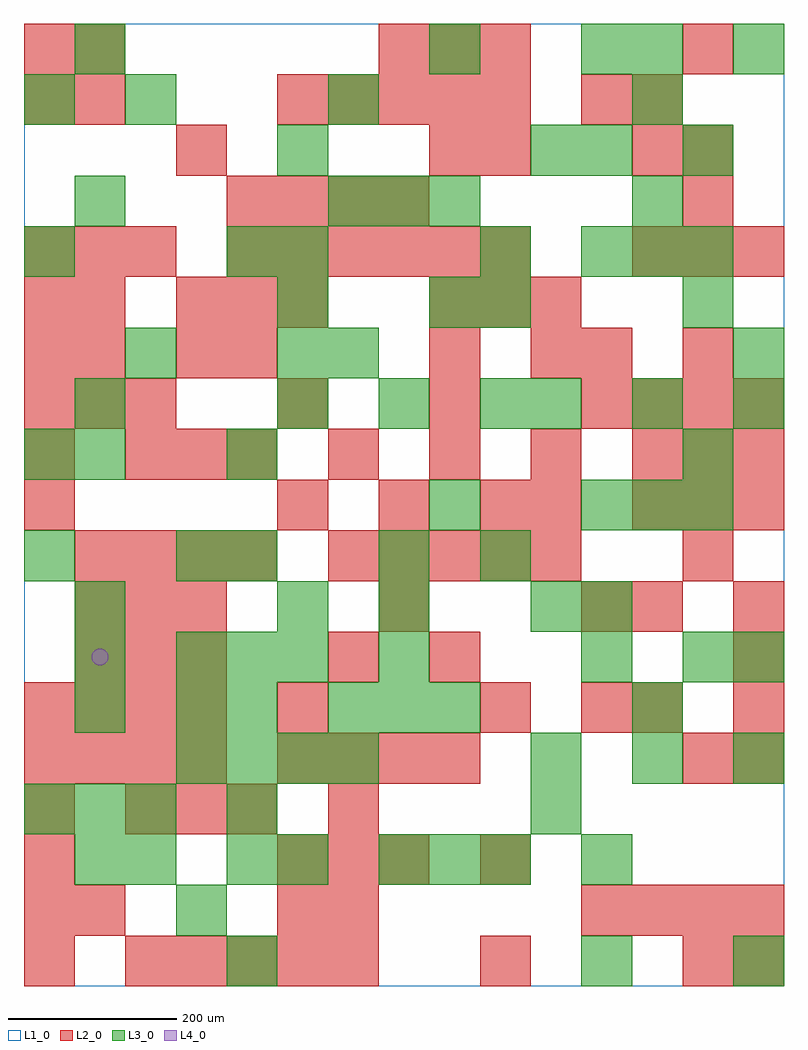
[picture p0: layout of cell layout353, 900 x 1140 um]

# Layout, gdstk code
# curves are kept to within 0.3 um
import gdstk
lib = gdstk.Library(unit=1e-6, precision=1e-09)
def R(c, l, rs):  # rectangles x0, y0, x1, y1
    for r in rs: c.add(gdstk.rectangle(r[:2], r[2:], *l))
def A(c, l, x, y, w, h, nx, ny, dx, dy):  # array of equal rectangles
    R(c, l, [(x+i*dx, y+j*dy, x+i*dx+w, y+j*dy+h) for i in range(nx) for j in range(ny)])
def P(c, l, *ps):  # polygons
    for p in ps: c.add(gdstk.Polygon(p, *l))
L1_0 = (1, 0)
L2_0 = (2, 0)
L3_0 = (3, 0)
L4_0 = (4, 0)

layout353 = lib.new_cell('layout353')
R(layout353, L1_0, [(0,0,900,1140)])
A(layout353, L2_0, 0, 0, 60, 60, 1, 4, 0, 60)
A(layout353, L2_0, 120, 0, 60, 60, 5, 1, 60, 0)
A(layout353, L2_0, 780, 0, 60, 60, 1, 3, 0, 240)
A(layout353, L2_0, 660, 60, 60, 60, 4, 1, 60, 0)
A(layout353, L2_0, 300, 120, 60, 60, 3, 1, 60, 0)
A(layout353, L2_0, 120, 180, 60, 60, 3, 2, 60, 420)
A(layout353, L2_0, 0, 240, 60, 60, 4, 2, 60, 60)
A(layout353, L2_0, 300, 240, 60, 60, 4, 1, 60, 0)
A(layout353, L2_0, 840, 240, 60, 60, 1, 4, 0, 60)
A(layout353, L2_0, 60, 360, 60, 60, 3, 2, 60, 60)
A(layout353, L2_0, 660, 420, 60, 60, 1, 3, 0, 300)
A(layout353, L2_0, 60, 480, 60, 60, 4, 1, 60, 0)
A(layout353, L2_0, 360, 480, 60, 60, 5, 1, 60, 0)
A(layout353, L2_0, 300, 540, 60, 60, 3, 1, 120, 0)
A(layout353, L2_0, 720, 540, 60, 60, 3, 2, 60, 120)
A(layout353, L2_0, 360, 600, 60, 60, 4, 1, 120, 0)
A(layout353, L2_0, 0, 660, 60, 60, 3, 2, 60, 180)
A(layout353, L2_0, 300, 660, 60, 60, 3, 1, 180, 0)
A(layout353, L2_0, 180, 780, 60, 60, 3, 1, 60, 0)
A(layout353, L2_0, 480, 780, 60, 60, 3, 1, 60, 0)
A(layout353, L2_0, 240, 840, 60, 60, 6, 1, 60, 0)
A(layout353, L2_0, 720, 840, 60, 60, 3, 1, 60, 0)
A(layout353, L2_0, 240, 900, 60, 60, 4, 1, 60, 0)
A(layout353, L2_0, 300, 1020, 60, 60, 5, 1, 60, 0)
A(layout353, L2_0, 420, 1080, 60, 60, 3, 1, 60, 0)
R(layout353, L2_0, [(540,0,600,60), (840,0,900,60), (60,60,120,120), (300,60,360,120), (360,60,420,120), (540,120,600,180), (360,180,420,240), (300,300,360,360), (540,300,600,360), (660,300,720,360), (720,300,780,360), (360,360,420,420), (480,360,540,420), (420,420,480,480), (720,420,780,480), (0,540,60,600), (600,540,660,600), (0,600,60,660), (780,600,840,660), (840,600,900,660), (0,720,60,780), (60,720,120,780), (180,720,240,780), (240,720,300,780), (480,720,540,780), (600,720,660,780), (780,720,840,780), (0,780,60,840), (60,780,120,840), (780,900,840,960), (180,960,240,1020), (480,960,540,1020), (540,960,600,1020), (720,960,780,1020), (780,960,840,1020), (0,1020,60,1080), (60,1020,120,1080), (720,1020,780,1080), (0,1080,60,1140), (60,1080,120,1140), (780,1080,840,1140)])
A(layout353, L3_0, 840, 0, 60, 60, 1, 4, 0, 360)
A(layout353, L3_0, 300, 120, 60, 60, 1, 3, 0, 300)
A(layout353, L3_0, 420, 120, 60, 60, 3, 1, 60, 0)
A(layout353, L3_0, 0, 180, 60, 60, 3, 1, 60, 0)
A(layout353, L3_0, 180, 240, 60, 60, 4, 1, 60, 0)
A(layout353, L3_0, 600, 240, 60, 60, 3, 2, 120, 420)
A(layout353, L3_0, 60, 300, 60, 60, 1, 3, 0, 60)
A(layout353, L3_0, 360, 300, 60, 60, 3, 2, 60, 600)
A(layout353, L3_0, 180, 360, 60, 60, 3, 1, 60, 0)
A(layout353, L3_0, 420, 360, 60, 60, 1, 3, 0, 60)
A(layout353, L3_0, 660, 540, 60, 60, 3, 2, 60, 300)
A(layout353, L3_0, 780, 600, 60, 60, 1, 3, 0, 180)
A(layout353, L3_0, 300, 660, 60, 60, 3, 1, 120, 0)
R(layout353, L3_0, [(240,0,300,60), (660,0,720,60), (180,60,240,120), (60,120,120,180), (120,120,180,180), (240,120,300,180), (660,120,720,180), (240,180,300,240), (600,180,660,240), (180,300,240,360), (240,300,300,360), (720,300,780,360), (660,360,720,420), (780,360,840,420), (600,420,660,480), (660,420,720,480), (0,480,60,540), (180,480,240,540), (240,480,300,540), (540,480,600,540), (480,540,540,600), (0,600,60,660), (60,600,120,660), (240,600,300,660), (60,660,120,720), (120,720,180,780), (360,720,420,780), (300,780,360,840), (480,780,540,840), (540,780,600,840), (0,840,60,900), (240,840,300,900), (300,840,360,900), (540,840,600,900), (60,900,120,960), (720,900,780,960), (300,960,360,1020), (600,960,660,1020), (660,960,720,1020), (0,1020,60,1080), (120,1020,180,1080), (360,1020,420,1080), (720,1020,780,1080), (60,1080,120,1140), (480,1080,540,1140), (660,1080,720,1140), (720,1080,780,1140)])
P(layout353, L4_0, [(100,390),(99.239,393.827),(97.071,397.071),(93.827,399.239),(90,400),(86.173,399.239),(82.929,397.071),(80.761,393.827),(80,390),(80.761,386.173),(82.929,382.929),(86.173,380.761),(90,380),(93.827,380.761),(97.071,382.929),(99.239,386.173)])

lib.write_gds('layout353.gds')
